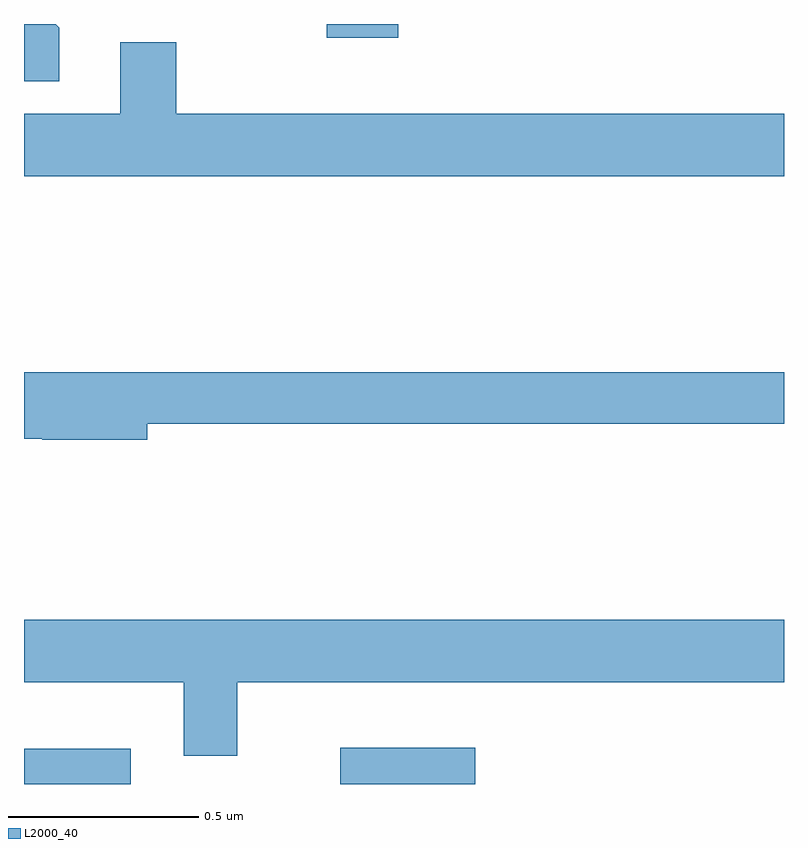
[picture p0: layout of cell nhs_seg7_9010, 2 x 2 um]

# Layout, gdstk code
import gdstk
lib = gdstk.Library(unit=1e-6, precision=1e-09)
def R(c, l, rs):  # rectangles x0, y0, x1, y1
    for r in rs: c.add(gdstk.rectangle(r[:2], r[2:], *l))
def P(c, l, *ps):  # polygons
    for p in ps: c.add(gdstk.Polygon(p, *l))
L2000_40 = (2000, 40)

nhs_seg7_9010 = lib.new_cell('nhs_seg7_9010')
R(nhs_seg7_9010, L2000_40, [(232,1015,232.281,1015.093), (232.832,1015,233.188,1015.096), (232.797,1016.964,232.985,1017)])
P(nhs_seg7_9010, L2000_40, [(232.093,1016.99),(232.083,1017),(232,1017),(232,1016.85),(232.093,1016.85)],
  [(234,1016.764),(232.401,1016.764),(232.401,1016.952),(232.253,1016.952),(232.253,1016.764),(232,1016.764),(232,1016.6),(234,1016.6)],
  [(232.324,1015.948),(234,1015.948),(234,1016.084),(232,1016.084),(232,1015.908),(232.048,1015.908),(232.048,1015.906),(232.324,1015.906)],
  [(232.561,1015.268),(234,1015.268),(234,1015.432),(232,1015.432),(232,1015.268),(232.421,1015.268),(232.421,1015.074),(232.561,1015.074)])

lib.write_gds('nhs_seg7_9010.gds')
